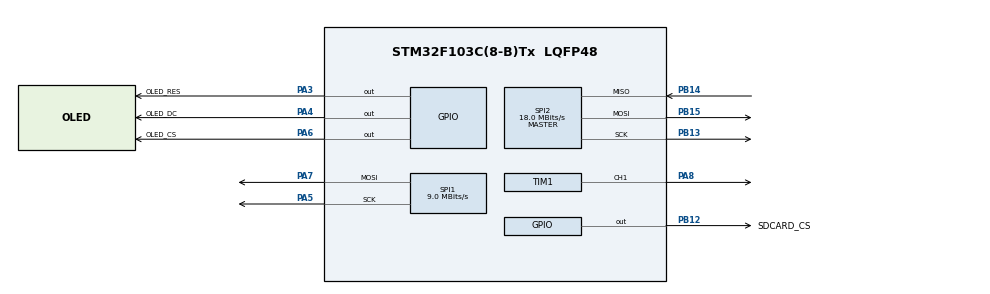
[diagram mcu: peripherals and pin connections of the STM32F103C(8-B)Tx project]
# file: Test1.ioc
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Dma.Request0=SPI1_TX
Dma.Request1=SPI2_RX
Dma.Request2=TIM4_UP
Dma.SPI1_TX.0.Direction=DMA_MEMORY_TO_PERIPH
Dma.SPI1_TX.0.Instance=DMA1_Channel3
Dma.SPI1_TX.0.MemDataAlignment=DMA_MDATAALIGN_BYTE
Dma.SPI1_TX.0.MemInc=DMA_MINC_ENABLE
Dma.SPI1_TX.0.Mode=DMA_NORMAL
Dma.SPI1_TX.0.PeriphDataAlignment=DMA_PDATAALIGN_BYTE
Dma.SPI1_TX.0.PeriphInc=DMA_PINC_DISABLE
Dma.SPI1_TX.0.Priority=DMA_PRIORITY_LOW
Dma.SPI2_RX.1.Direction=DMA_PERIPH_TO_MEMORY
Dma.SPI2_RX.1.Instance=DMA1_Channel4
Dma.SPI2_RX.1.MemDataAlignment=DMA_MDATAALIGN_BYTE
Dma.SPI2_RX.1.MemInc=DMA_MINC_ENABLE
Dma.SPI2_RX.1.Mode=DMA_NORMAL
Dma.SPI2_RX.1.PeriphDataAlignment=DMA_PDATAALIGN_BYTE
Dma.SPI2_RX.1.PeriphInc=DMA_PINC_DISABLE
Dma.SPI2_RX.1.Priority=DMA_PRIORITY_LOW
Dma.TIM4_UP.2.Direction=DMA_MEMORY_TO_PERIPH
Dma.TIM4_UP.2.Instance=DMA1_Channel7
Dma.TIM4_UP.2.MemDataAlignment=DMA_MDATAALIGN_BYTE
Dma.TIM4_UP.2.MemInc=DMA_MINC_ENABLE
Dma.TIM4_UP.2.Mode=DMA_CIRCULAR
Dma.TIM4_UP.2.PeriphDataAlignment=DMA_PDATAALIGN_HALFWORD
Dma.TIM4_UP.2.PeriphInc=DMA_PINC_DISABLE
Dma.TIM4_UP.2.Priority=DMA_PRIORITY_LOW
Mcu.Family=STM32F1
Mcu.Name=STM32F103C(8-B)Tx
Mcu.Package=LQFP48
NVIC.DMA1_Channel3_IRQn=true\:0\:0\:false\:false\:true\:true\:true
NVIC.DMA1_Channel7_IRQn=true\:1\:0\:true\:false\:true\:true\:true
NVIC.PriorityGroup=NVIC_PRIORITYGROUP_4
PA13.Mode=Serial_Wire
PA13.Signal=SYS_JTMS-SWDIO
PA14.Mode=Serial_Wire
PA14.Signal=SYS_JTCK-SWCLK
PA3.GPIO_Label=OLED_RES
PA3.Signal=GPIO_Output
PA4.GPIO_Label=OLED_DC
PA4.GPIO_Speed=GPIO_SPEED_FREQ_HIGH
PA4.PinState=GPIO_PIN_RESET
PA4.Signal=GPIO_Output
PA5.Mode=TX_Only_Simplex_Unidirect_Master
PA5.Signal=SPI1_SCK
PA6.GPIO_Label=OLED_CS
PA6.GPIO_Speed=GPIO_SPEED_FREQ_MEDIUM
PA6.PinState=GPIO_PIN_SET
PA6.Signal=GPIO_Output
PA7.Mode=TX_Only_Simplex_Unidirect_Master
PA7.Signal=SPI1_MOSI
PA8.Signal=S_TIM1_CH1
PB12.GPIO_Label=SDCARD_CS
PB12.PinState=GPIO_PIN_SET
PB12.Signal=GPIO_Output
PB13.Mode=Full_Duplex_Master
PB13.Signal=SPI2_SCK
PB14.Mode=Full_Duplex_Master
PB14.Signal=SPI2_MISO
PB15.Mode=Full_Duplex_Master
PB15.Signal=SPI2_MOSI
PD0-OSC_IN.Mode=HSE-External-Oscillator
PD0-OSC_IN.Signal=RCC_OSC_IN
PD1-OSC_OUT.Mode=HSE-External-Oscillator
PD1-OSC_OUT.Signal=RCC_OSC_OUT
ProjectManager.HeapSize=0x200
ProjectManager.StackSize=0x400
ProjectManager.TargetToolchain=STM32CubeIDE
RCC.AHBFreq_Value=72000000
RCC.APB1CLKDivider=RCC_HCLK_DIV2
RCC.APB1Freq_Value=36000000
RCC.APB1TimFreq_Value=72000000
RCC.APB2Freq_Value=72000000
RCC.APB2TimFreq_Value=72000000
RCC.HCLKFreq_Value=72000000
RCC.PLLMUL=RCC_PLL_MUL9
RCC.PLLSourceVirtual=RCC_PLLSOURCE_HSE
RCC.SYSCLKFreq_VALUE=72000000
RCC.SYSCLKSource=RCC_SYSCLKSOURCE_PLLCLK
RCC.USBFreq_Value=72000000
SH.S_TIM1_CH1.0=TIM1_CH1,PWM Generation1 CH1
SPI1.BaudRatePrescaler=SPI_BAUDRATEPRESCALER_8
SPI1.CalculateBaudRate=9.0 MBits/s
SPI1.Direction=SPI_DIRECTION_2LINES
SPI1.Mode=SPI_MODE_MASTER
SPI1.VirtualType=VM_MASTER
SPI2.CalculateBaudRate=18.0 MBits/s
SPI2.Direction=SPI_DIRECTION_2LINES
SPI2.Mode=SPI_MODE_MASTER
SPI2.VirtualType=VM_MASTER
TIM1.AutomaticOutput=TIM_AUTOMATICOUTPUT_DISABLE
TIM1.Channel-PWM\ Generation1\ CH1=TIM_CHANNEL_1
TIM1.OCIdleState_1=TIM_OCIDLESTATE_RESET
TIM1.Period=255
TIM2.Period=0x00FF
TIM2.Prescaler=282
TIM3.Period=0x02FF
TIM3.Prescaler=3755
TIM3.TIM_MasterOutputTrigger=TIM_TRGO_RESET
TIM4.Period=1632
VP_TIM1_VS_ClockSourceINT.Mode=Internal
VP_TIM2_VS_ClockSourceINT.Mode=Internal
VP_TIM3_VS_ClockSourceINT.Mode=Internal
VP_TIM4_VS_ClockSourceINT.Mode=Internal
board=custom

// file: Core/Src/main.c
/* USER CODE BEGIN Header */
/**
  ******************************************************************************
  * @file           : main.c
  * @brief          : Main program body
  ******************************************************************************
  * @attention
  *
  * <h2><center>&copy; Copyright (c) 2020 STMicroelectronics.
  * All rights reserved.</center></h2>
  *
  * This software component is licensed by ST under BSD 3-Clause license,
  * the "License"; You may not use this file except in compliance with the
  * License. You may obtain a copy of the License at:
  *                        opensource.org/licenses/BSD-3-Clause
  *
  ******************************************************************************
  */
/* USER CODE END Header */

#include "main.h"

/* USER CODE BEGIN Includes */
#include <stdio.h>
/* USER CODE END Includes */

void SystemClock_Config(void);
static void MX_GPIO_Init(void);
static void MX_DMA_Init(void);
static void MX_SPI1_Init(void);
static void MX_SPI2_Init(void);
static void MX_TIM1_Init(void);
static void MX_TIM2_Init(void);
static void MX_TIM4_Init(void);
static void MX_TIM3_Init(void);

int main(void)
{
  /* USER CODE BEGIN 1 */
	/*
	 * Timer 1 is for audio carrier waveform
	 * Timer 2 is for delays
	 * Timer 3 is for video update interupt
	 * Timer 4 is for audio update interupt
	 */
  /* USER CODE END 1 */

  /* MCU Configuration--------------------------------------------------------*/

  /* Reset of all peripherals, Initializes the Flash interface and the Systick. */

  LL_APB2_GRP1_EnableClock(LL_APB2_GRP1_PERIPH_AFIO);
  LL_APB1_GRP1_EnableClock(LL_APB1_GRP1_PERIPH_PWR);

  NVIC_SetPriorityGrouping(NVIC_PRIORITYGROUP_4);

  /* System interrupt init*/

  /** NOJTAG: JTAG-DP Disabled and SW-DP Enabled
  */
  LL_GPIO_AF_Remap_SWJ_NOJTAG();

  /* Configure the system clock */
  SystemClock_Config();

  /* Initialize all configured peripherals */
  MX_GPIO_Init();
  MX_DMA_Init();
  MX_SPI1_Init();
  MX_SPI2_Init();
  MX_TIM1_Init();
  MX_TIM2_Init();
  MX_TIM4_Init();
  MX_TIM3_Init();
  /* USER CODE BEGIN 2 */
  initDelay();
  LL_TIM_SetUpdateSource(TIM4, LL_TIM_UPDATESOURCE_COUNTER);
  LL_TIM_SetUpdateSource(TIM3, LL_TIM_UPDATESOURCE_COUNTER);
  LL_TIM_SetUpdateSource(TIM2, LL_TIM_UPDATESOURCE_COUNTER);
  LL_TIM_SetUpdateSource(TIM1, LL_TIM_UPDATESOURCE_COUNTER);

  // Add Timer 4's DMA periferal and memory location
  LL_DMA_SetPeriphAddress(DMA1, LL_DMA_CHANNEL_7, &TIM1->CCR1);
  LL_DMA_SetMemoryAddress(DMA1, LL_DMA_CHANNEL_7, &musicBuffer);
  LL_DMA_SetMode(DMA1, LL_DMA_CHANNEL_7, LL_DMA_MODE_CIRCULAR);
  LL_DMA_SetDataLength(DMA1, LL_DMA_CHANNEL_7, MUSIC_BUFFER_SIZE);
  LL_DMA_EnableIT_TC(DMA1, LL_DMA_CHANNEL_7);
  LL_DMA_EnableIT_HT(DMA1, LL_DMA_CHANNEL_7);
  LL_TIM_EnableDMAReq_UPDATE(TIM4);

  // Video Timer 3 and DMA stuff
  LL_TIM_ClearFlag_UPDATE(TIM3);
  LL_SPI_EnableDMAReq_TX(SPI1);

  LL_DMA_SetPeriphAddress(DMA1, LL_DMA_CHANNEL_3, &SPI1->DR);
  LL_DMA_SetMemoryAddress(DMA1, LL_DMA_CHANNEL_3, &vid_buffer[0]);
  LL_DMA_SetDataLength(DMA1, LL_DMA_CHANNEL_3, VID_HALF_BUFFER_SIZE);
  LL_DMA_EnableIT_TC(DMA1, LL_DMA_CHANNEL_3);
  LL_DMA_EnableIT_HT(DMA1, LL_DMA_CHANNEL_3);

  LL_SPI_Enable(SPI1);
  OLED_Driver_Device_Init();

  // Enable set DMA for SPI2 (for SD Card)
  LL_SPI_DisableDMAReq_RX(SPI2);
  LL_DMA_SetPeriphAddress(DMA1, LL_DMA_CHANNEL_4, &SPI2->DR);
  LL_SPI_Enable(SPI2);

  // Start FATFS file handler
  FRESULT res = f_mount(&fatfs_handler, "", 1);
  if(res != FR_OK) {
  	return 1;
  }
  delayMs(100);

  // Create the audio file handler
  res = f_open(&audio_fil, MUSIC_FILE_NAME, FA_READ);
  if (res != FR_OK) {
    return 1;
  }
  // Read the first 44bytes to remove header (checked with HxD)
  unsigned int f_size = 0;		// Placeholder for size of array
  res = f_read(&audio_fil,musicBuffer,44,&f_size);	// Read part of file
  if(res != FR_OK){		// If not read correctly, return
    return 1;
  }
  // Fill up the buffer with data, so when the DMA1-7 interrupt initially triggers for half-full, it could fill
  // up the first half when its done with it
  music_bufferCount = 1;
  res = f_read(&audio_fil,musicBuffer,MUSIC_BUFFER_SIZE,&f_size);
  if (res != FR_OK) {
	return 1;
	}

  res = f_open(&vid_fil, VIDEO_FILE_NAME, FA_READ);
  if (res != FR_OK) {
    return 1;
  }
	res = f_read(&vid_fil,vid_buffer,VID_BUFFER_SIZE,&f_size);
	if (res != FR_OK) {
		return 1;
	  }

  video_bufferCount = 1;
  vid_number_of_send = VID_HALF_BUFFER_SIZE/2;

  end_of_music_file = 0;
  end_of_video_file = 0;
  last_music_file_size = 0;
  last_video_file_size = 0;

  OLED_Driver_CUSTOM_RAM_Address(OLED_Y_MIN, OLED_Y_MAX, 0, 127);
  OLED_Driver_Write_Command(0x5C);
  OLED_DC_1;

  LL_TIM_CC_EnableChannel(TIM1, LL_TIM_CHANNEL_CH1);
  LL_TIM_EnableAllOutputs(TIM1);
  LL_TIM_EnableCounter(TIM1);

  // Clear DMA1-7 flags just in case they were set to 1
  LL_DMA_ClearFlag_TC7(DMA1); LL_DMA_ClearFlag_HT7(DMA1);
  LL_DMA_ClearFlag_TC3(DMA1); LL_DMA_ClearFlag_HT3(DMA1);

  // Enable the DMA Channel and start the timer 4 counter
  LL_DMA_EnableChannel(DMA1, LL_DMA_CHANNEL_7);
  LL_DMA_EnableChannel(DMA1, LL_DMA_CHANNEL_3);
  LL_TIM_EnableCounter(TIM3);
  LL_TIM_EnableCounter(TIM4);

  /* USER CODE END 2 */

  /* Infinite loop */
  while (1)
  {
  	/* For both music file and video file, it waits until the end_of_file flag from the interrupt
  	 * is 1. Then, because the interupt read another half buffer before it exited, that means that
  	 * we still have another half buffer to send, which is why when the end_of_file flag is 1, it
  	 * let's the DMA continue for the circular audio DMA and restarts the DMA for the 'normal mode'
  	 * video DMA. It also makes the end_of_file flag a 2. After that, when the end_of_file flag
  	 * is 2, that means that we sent out everything we needed, thus it's OK now to end the DMA and
  	 * timers.
  	 */
	  if(end_of_music_file > 0){
		  if(LL_DMA_IsActiveFlag_TC7(DMA1) || LL_DMA_IsActiveFlag_HT7(DMA1)){
		  	LL_DMA_ClearFlag_TC7(DMA1); LL_DMA_ClearFlag_HT7(DMA1);
			  if(end_of_music_file == 1){
			  	LL_DMA_DisableChannel(DMA1, LL_DMA_CHANNEL_7);
			  	LL_DMA_SetMemoryAddress(DMA1, LL_DMA_CHANNEL_7, &musicBuffer[music_bufferCount*MUSIC_HALF_BUFFER_SIZE]);
			  	LL_DMA_SetDataLength(DMA1, LL_DMA_CHANNEL_7, last_music_file_size);
			  	LL_DMA_EnableChannel(DMA1, LL_DMA_CHANNEL_7);
			  	end_of_music_file = 2;
			  }
			  else if(end_of_music_file == 2){
					LL_DMA_DisableChannel(DMA1, LL_DMA_CHANNEL_7);
					LL_TIM_DisableCounter(TIM4);
					LL_TIM_OC_SetCompareCH1(TIM1, 0);
					LL_TIM_CC_DisableChannel(TIM1, LL_TIM_CHANNEL_CH1);
					LL_TIM_DisableCounter(TIM1);
			  }
		  }
	  }
	  if(end_of_video_file > 0){
	  	if(LL_DMA_IsActiveFlag_TC3(DMA1) || LL_DMA_IsActiveFlag_HT3(DMA1)){
	  		LL_DMA_ClearFlag_TC3(DMA1); LL_DMA_ClearFlag_HT3(DMA1);
	  		if(end_of_video_file == 1){
	  			LL_DMA_DisableChannel(DMA1, LL_DMA_CHANNEL_3);
					LL_DMA_SetMemoryAddress(DMA1, LL_DMA_CHANNEL_3, &vid_buffer[video_bufferCount*VID_HALF_BUFFER_SIZE]);
					LL_DMA_SetDataLength(DMA1, LL_DMA_CHANNEL_3, last_video_file_size);
					LL_DMA_EnableChannel(DMA1, LL_DMA_CHANNEL_3);
					end_of_video_file = 2;
	  		}
	  		else if(end_of_video_file == 2){
	  			LL_DMA_DisableChannel(DMA1, LL_DMA_CHANNEL_3);
					LL_TIM_DisableCounter(TIM3);
					OLED_CS_1;
					OLED_Driver_Clear_Screen();
	  		}
	  	}
	  }
  }
}

void SystemClock_Config(void)
{
  LL_FLASH_SetLatency(LL_FLASH_LATENCY_2);

   if(LL_FLASH_GetLatency() != LL_FLASH_LATENCY_2)
  {
    Error_Handler();
  }
  LL_RCC_HSE_Enable();

   /* Wait till HSE is ready */
  while(LL_RCC_HSE_IsReady() != 1)
  {

  }
  LL_RCC_PLL_ConfigDomain_SYS(LL_RCC_PLLSOURCE_HSE_DIV_1, LL_RCC_PLL_MUL_9);
  LL_RCC_PLL_Enable();

   /* Wait till PLL is ready */
  while(LL_RCC_PLL_IsReady() != 1)
  {

  }
  LL_RCC_SetAHBPrescaler(LL_RCC_SYSCLK_DIV_1);
  LL_RCC_SetAPB1Prescaler(LL_RCC_APB1_DIV_2);
  LL_RCC_SetAPB2Prescaler(LL_RCC_APB2_DIV_1);
  LL_RCC_SetSysClkSource(LL_RCC_SYS_CLKSOURCE_PLL);

   /* Wait till System clock is ready */
  while(LL_RCC_GetSysClkSource() != LL_RCC_SYS_CLKSOURCE_STATUS_PLL)
  {

  }
  LL_Init1msTick(72000000);
  LL_SetSystemCoreClock(72000000);
}

static void MX_SPI1_Init(void)
{

  LL_SPI_InitTypeDef SPI_InitStruct = {0};

  LL_GPIO_InitTypeDef GPIO_InitStruct = {0};

  /* Peripheral clock enable */
  LL_APB2_GRP1_EnableClock(LL_APB2_GRP1_PERIPH_SPI1);

  LL_APB2_GRP1_EnableClock(LL_APB2_GRP1_PERIPH_GPIOA);
  /**SPI1 GPIO Configuration
  PA5   ------> SPI1_SCK
  PA7   ------> SPI1_MOSI
  */
  GPIO_InitStruct.Pin = LL_GPIO_PIN_5|LL_GPIO_PIN_7;
  GPIO_InitStruct.Mode = LL_GPIO_MODE_ALTERNATE;
  GPIO_InitStruct.Speed = LL_GPIO_SPEED_FREQ_HIGH;
  GPIO_InitStruct.OutputType = LL_GPIO_OUTPUT_PUSHPULL;
  LL_GPIO_Init(GPIOA, &GPIO_InitStruct);

  /* SPI1 DMA Init */

  /* SPI1_TX Init */
  LL_DMA_SetDataTransferDirection(DMA1, LL_DMA_CHANNEL_3, LL_DMA_DIRECTION_MEMORY_TO_PERIPH);

  LL_DMA_SetChannelPriorityLevel(DMA1, LL_DMA_CHANNEL_3, LL_DMA_PRIORITY_LOW);

  LL_DMA_SetMode(DMA1, LL_DMA_CHANNEL_3, LL_DMA_MODE_NORMAL);

  LL_DMA_SetPeriphIncMode(DMA1, LL_DMA_CHANNEL_3, LL_DMA_PERIPH_NOINCREMENT);

  LL_DMA_SetMemoryIncMode(DMA1, LL_DMA_CHANNEL_3, LL_DMA_MEMORY_INCREMENT);

  LL_DMA_SetPeriphSize(DMA1, LL_DMA_CHANNEL_3, LL_DMA_PDATAALIGN_BYTE);

  LL_DMA_SetMemorySize(DMA1, LL_DMA_CHANNEL_3, LL_DMA_MDATAALIGN_BYTE);

  /* SPI1 parameter configuration*/
  SPI_InitStruct.TransferDirection = LL_SPI_FULL_DUPLEX;
  SPI_InitStruct.Mode = LL_SPI_MODE_MASTER;
  SPI_InitStruct.DataWidth = LL_SPI_DATAWIDTH_8BIT;
  SPI_InitStruct.ClockPolarity = LL_SPI_POLARITY_LOW;
  SPI_InitStruct.ClockPhase = LL_SPI_PHASE_1EDGE;
  SPI_InitStruct.NSS = LL_SPI_NSS_SOFT;
  SPI_InitStruct.BaudRate = LL_SPI_BAUDRATEPRESCALER_DIV8;
  SPI_InitStruct.BitOrder = LL_SPI_MSB_FIRST;
  SPI_InitStruct.CRCCalculation = LL_SPI_CRCCALCULATION_DISABLE;
  SPI_InitStruct.CRCPoly = 10;
  LL_SPI_Init(SPI1, &SPI_InitStruct);

}

static void MX_SPI2_Init(void)
{

  LL_SPI_InitTypeDef SPI_InitStruct = {0};

  LL_GPIO_InitTypeDef GPIO_InitStruct = {0};

  /* Peripheral clock enable */
  LL_APB1_GRP1_EnableClock(LL_APB1_GRP1_PERIPH_SPI2);

  LL_APB2_GRP1_EnableClock(LL_APB2_GRP1_PERIPH_GPIOB);
  /**SPI2 GPIO Configuration
  PB13   ------> SPI2_SCK
  PB14   ------> SPI2_MISO
  PB15   ------> SPI2_MOSI
  */
  GPIO_InitStruct.Pin = LL_GPIO_PIN_13|LL_GPIO_PIN_15;
  GPIO_InitStruct.Mode = LL_GPIO_MODE_ALTERNATE;
  GPIO_InitStruct.Speed = LL_GPIO_SPEED_FREQ_HIGH;
  GPIO_InitStruct.OutputType = LL_GPIO_OUTPUT_PUSHPULL;
  LL_GPIO_Init(GPIOB, &GPIO_InitStruct);

  GPIO_InitStruct.Pin = LL_GPIO_PIN_14;
  GPIO_InitStruct.Mode = LL_GPIO_MODE_FLOATING;
  LL_GPIO_Init(GPIOB, &GPIO_InitStruct);

  /* SPI2 DMA Init */

  /* SPI2_RX Init */
  LL_DMA_SetDataTransferDirection(DMA1, LL_DMA_CHANNEL_4, LL_DMA_DIRECTION_PERIPH_TO_MEMORY);

  LL_DMA_SetChannelPriorityLevel(DMA1, LL_DMA_CHANNEL_4, LL_DMA_PRIORITY_LOW);

  LL_DMA_SetMode(DMA1, LL_DMA_CHANNEL_4, LL_DMA_MODE_NORMAL);

  LL_DMA_SetPeriphIncMode(DMA1, LL_DMA_CHANNEL_4, LL_DMA_PERIPH_NOINCREMENT);

  LL_DMA_SetMemoryIncMode(DMA1, LL_DMA_CHANNEL_4, LL_DMA_MEMORY_INCREMENT);

  LL_DMA_SetPeriphSize(DMA1, LL_DMA_CHANNEL_4, LL_DMA_PDATAALIGN_BYTE);

  LL_DMA_SetMemorySize(DMA1, LL_DMA_CHANNEL_4, LL_DMA_MDATAALIGN_BYTE);

  /* SPI2 parameter configuration*/
  SPI_InitStruct.TransferDirection = LL_SPI_FULL_DUPLEX;
  SPI_InitStruct.Mode = LL_SPI_MODE_MASTER;
  SPI_InitStruct.DataWidth = LL_SPI_DATAWIDTH_8BIT;
  SPI_InitStruct.ClockPolarity = LL_SPI_POLARITY_LOW;
  SPI_InitStruct.ClockPhase = LL_SPI_PHASE_1EDGE;
  SPI_InitStruct.NSS = LL_SPI_NSS_SOFT;
  SPI_InitStruct.BaudRate = LL_SPI_BAUDRATEPRESCALER_DIV2;
  SPI_InitStruct.BitOrder = LL_SPI_MSB_FIRST;
  SPI_InitStruct.CRCCalculation = LL_SPI_CRCCALCULATION_DISABLE;
  SPI_InitStruct.CRCPoly = 10;
  LL_SPI_Init(SPI2, &SPI_InitStruct);

}

static void MX_TIM1_Init(void)
{

  LL_TIM_InitTypeDef TIM_InitStruct = {0};
  LL_TIM_OC_InitTypeDef TIM_OC_InitStruct = {0};
  LL_TIM_BDTR_InitTypeDef TIM_BDTRInitStruct = {0};

  LL_GPIO_InitTypeDef GPIO_InitStruct = {0};

  /* Peripheral clock enable */
  LL_APB2_GRP1_EnableClock(LL_APB2_GRP1_PERIPH_TIM1);

  TIM_InitStruct.Prescaler = 0;
  TIM_InitStruct.CounterMode = LL_TIM_COUNTERMODE_UP;
  TIM_InitStruct.Autoreload = 255;
  TIM_InitStruct.ClockDivision = LL_TIM_CLOCKDIVISION_DIV1;
  TIM_InitStruct.RepetitionCounter = 0;
  LL_TIM_Init(TIM1, &TIM_InitStruct);
  LL_TIM_DisableARRPreload(TIM1);
  LL_TIM_SetClockSource(TIM1, LL_TIM_CLOCKSOURCE_INTERNAL);
  LL_TIM_OC_EnablePreload(TIM1, LL_TIM_CHANNEL_CH1);
  TIM_OC_InitStruct.OCMode = LL_TIM_OCMODE_PWM1;
  TIM_OC_InitStruct.OCState = LL_TIM_OCSTATE_DISABLE;
  TIM_OC_InitStruct.OCNState = LL_TIM_OCSTATE_DISABLE;
  TIM_OC_InitStruct.CompareValue = 0;
  TIM_OC_InitStruct.OCPolarity = LL_TIM_OCPOLARITY_HIGH;
  TIM_OC_InitStruct.OCNPolarity = LL_TIM_OCPOLARITY_HIGH;
  TIM_OC_InitStruct.OCIdleState = LL_TIM_OCIDLESTATE_LOW;
  TIM_OC_InitStruct.OCNIdleState = LL_TIM_OCIDLESTATE_LOW;
  LL_TIM_OC_Init(TIM1, LL_TIM_CHANNEL_CH1, &TIM_OC_InitStruct);
  LL_TIM_OC_DisableFast(TIM1, LL_TIM_CHANNEL_CH1);
  LL_TIM_SetTriggerOutput(TIM1, LL_TIM_TRGO_RESET);
  LL_TIM_DisableMasterSlaveMode(TIM1);
  TIM_BDTRInitStruct.OSSRState = LL_TIM_OSSR_DISABLE;
  TIM_BDTRInitStruct.OSSIState = LL_TIM_OSSI_DISABLE;
  TIM_BDTRInitStruct.LockLevel = LL_TIM_LOCKLEVEL_OFF;
  TIM_BDTRInitStruct.DeadTime = 0;
  TIM_BDTRInitStruct.BreakState = LL_TIM_BREAK_DISABLE;
  TIM_BDTRInitStruct.BreakPolarity = LL_TIM_BREAK_POLARITY_HIGH;
  TIM_BDTRInitStruct.AutomaticOutput = LL_TIM_AUTOMATICOUTPUT_DISABLE;
  LL_TIM_BDTR_Init(TIM1, &TIM_BDTRInitStruct);
  LL_APB2_GRP1_EnableClock(LL_APB2_GRP1_PERIPH_GPIOA);
  /**TIM1 GPIO Configuration
  PA8   ------> TIM1_CH1
  */
  GPIO_InitStruct.Pin = LL_GPIO_PIN_8;
  GPIO_InitStruct.Mode = LL_GPIO_MODE_ALTERNATE;
  GPIO_InitStruct.Speed = LL_GPIO_SPEED_FREQ_LOW;
  GPIO_InitStruct.OutputType = LL_GPIO_OUTPUT_PUSHPULL;
  LL_GPIO_Init(GPIOA, &GPIO_InitStruct);

}

static void MX_TIM2_Init(void)
{

  LL_TIM_InitTypeDef TIM_InitStruct = {0};

  /* Peripheral clock enable */
  LL_APB1_GRP1_EnableClock(LL_APB1_GRP1_PERIPH_TIM2);

  TIM_InitStruct.Prescaler = 282;
  TIM_InitStruct.CounterMode = LL_TIM_COUNTERMODE_UP;
  TIM_InitStruct.Autoreload = 0x00FF;
  TIM_InitStruct.ClockDivision = LL_TIM_CLOCKDIVISION_DIV1;
  LL_TIM_Init(TIM2, &TIM_InitStruct);
  LL_TIM_DisableARRPreload(TIM2);
  LL_TIM_SetClockSource(TIM2, LL_TIM_CLOCKSOURCE_INTERNAL);
  LL_TIM_SetTriggerOutput(TIM2, LL_TIM_TRGO_RESET);
  LL_TIM_DisableMasterSlaveMode(TIM2);

}

static void MX_TIM3_Init(void)
{

  LL_TIM_InitTypeDef TIM_InitStruct = {0};

  /* Peripheral clock enable */
  LL_APB1_GRP1_EnableClock(LL_APB1_GRP1_PERIPH_TIM3);

  TIM_InitStruct.Prescaler = 3755;
  TIM_InitStruct.CounterMode = LL_TIM_COUNTERMODE_UP;
  TIM_InitStruct.Autoreload = 0x02FF;
  TIM_InitStruct.ClockDivision = LL_TIM_CLOCKDIVISION_DIV1;
  LL_TIM_Init(TIM3, &TIM_InitStruct);
  LL_TIM_DisableARRPreload(TIM3);
  LL_TIM_SetClockSource(TIM3, LL_TIM_CLOCKSOURCE_INTERNAL);
  LL_TIM_SetTriggerOutput(TIM3, LL_TIM_TRGO_RESET);
  LL_TIM_DisableMasterSlaveMode(TIM3);

}

static void MX_TIM4_Init(void)
{

  LL_TIM_InitTypeDef TIM_InitStruct = {0};

  /* Peripheral clock enable */
  LL_APB1_GRP1_EnableClock(LL_APB1_GRP1_PERIPH_TIM4);

  /* TIM4 DMA Init */

  /* TIM4_UP Init */
  LL_DMA_SetDataTransferDirection(DMA1, LL_DMA_CHANNEL_7, LL_DMA_DIRECTION_MEMORY_TO_PERIPH);

  LL_DMA_SetChannelPriorityLevel(DMA1, LL_DMA_CHANNEL_7, LL_DMA_PRIORITY_LOW);

  LL_DMA_SetMode(DMA1, LL_DMA_CHANNEL_7, LL_DMA_MODE_CIRCULAR);

  LL_DMA_SetPeriphIncMode(DMA1, LL_DMA_CHANNEL_7, LL_DMA_PERIPH_NOINCREMENT);

  LL_DMA_SetMemoryIncMode(DMA1, LL_DMA_CHANNEL_7, LL_DMA_MEMORY_INCREMENT);

  LL_DMA_SetPeriphSize(DMA1, LL_DMA_CHANNEL_7, LL_DMA_PDATAALIGN_HALFWORD);

  LL_DMA_SetMemorySize(DMA1, LL_DMA_CHANNEL_7, LL_DMA_MDATAALIGN_BYTE);

  TIM_InitStruct.Prescaler = 0;
  TIM_InitStruct.CounterMode = LL_TIM_COUNTERMODE_UP;
  TIM_InitStruct.Autoreload = 1800;
  TIM_InitStruct.ClockDivision = LL_TIM_CLOCKDIVISION_DIV1;
  LL_TIM_Init(TIM4, &TIM_InitStruct);
  LL_TIM_DisableARRPreload(TIM4);
  LL_TIM_SetClockSource(TIM4, LL_TIM_CLOCKSOURCE_INTERNAL);
  LL_TIM_SetTriggerOutput(TIM4, LL_TIM_TRGO_RESET);
  LL_TIM_DisableMasterSlaveMode(TIM4);

}

static void MX_DMA_Init(void)
{

  /* Init with LL driver */
  /* DMA controller clock enable */
  LL_AHB1_GRP1_EnableClock(LL_AHB1_GRP1_PERIPH_DMA1);

  /* DMA interrupt init */
  /* DMA1_Channel3_IRQn interrupt configuration */
  NVIC_SetPriority(DMA1_Channel3_IRQn, NVIC_EncodePriority(NVIC_GetPriorityGrouping(),1, 0));
  NVIC_EnableIRQ(DMA1_Channel3_IRQn);
  /* DMA1_Channel7_IRQn interrupt configuration */
  NVIC_SetPriority(DMA1_Channel7_IRQn, NVIC_EncodePriority(NVIC_GetPriorityGrouping(),0, 0));
  NVIC_EnableIRQ(DMA1_Channel7_IRQn);

}

static void MX_GPIO_Init(void)
{
  LL_GPIO_InitTypeDef GPIO_InitStruct = {0};

  /* GPIO Ports Clock Enable */
  LL_APB2_GRP1_EnableClock(LL_APB2_GRP1_PERIPH_GPIOD);
  LL_APB2_GRP1_EnableClock(LL_APB2_GRP1_PERIPH_GPIOA);
  LL_APB2_GRP1_EnableClock(LL_APB2_GRP1_PERIPH_GPIOB);

  /**/
  LL_GPIO_ResetOutputPin(GPIOA, OLED_RES_Pin|OLED_DC_Pin);

  /**/
  LL_GPIO_SetOutputPin(OLED_CS_GPIO_Port, OLED_CS_Pin);

  /**/
  LL_GPIO_SetOutputPin(SDCARD_CS_GPIO_Port, SDCARD_CS_Pin);

  /**/
  GPIO_InitStruct.Pin = OLED_RES_Pin;
  GPIO_InitStruct.Mode = LL_GPIO_MODE_OUTPUT;
  GPIO_InitStruct.Speed = LL_GPIO_SPEED_FREQ_LOW;
  GPIO_InitStruct.OutputType = LL_GPIO_OUTPUT_PUSHPULL;
  LL_GPIO_Init(OLED_RES_GPIO_Port, &GPIO_InitStruct);

  /**/
  GPIO_InitStruct.Pin = OLED_DC_Pin;
  GPIO_InitStruct.Mode = LL_GPIO_MODE_OUTPUT;
  GPIO_InitStruct.Speed = LL_GPIO_SPEED_FREQ_HIGH;
  GPIO_InitStruct.OutputType = LL_GPIO_OUTPUT_PUSHPULL;
  LL_GPIO_Init(OLED_DC_GPIO_Port, &GPIO_InitStruct);

  /**/
  GPIO_InitStruct.Pin = OLED_CS_Pin;
  GPIO_InitStruct.Mode = LL_GPIO_MODE_OUTPUT;
  GPIO_InitStruct.Speed = LL_GPIO_SPEED_FREQ_MEDIUM;
  GPIO_InitStruct.OutputType = LL_GPIO_OUTPUT_PUSHPULL;
  LL_GPIO_Init(OLED_CS_GPIO_Port, &GPIO_InitStruct);

  /**/
  GPIO_InitStruct.Pin = SDCARD_CS_Pin;
  GPIO_InitStruct.Mode = LL_GPIO_MODE_OUTPUT;
  GPIO_InitStruct.Speed = LL_GPIO_SPEED_FREQ_LOW;
  GPIO_InitStruct.OutputType = LL_GPIO_OUTPUT_PUSHPULL;
  LL_GPIO_Init(SDCARD_CS_GPIO_Port, &GPIO_InitStruct);

}

void Error_Handler(void)
{
}

/************************ (C) COPYRIGHT STMicroelectronics *****END OF FILE****/
